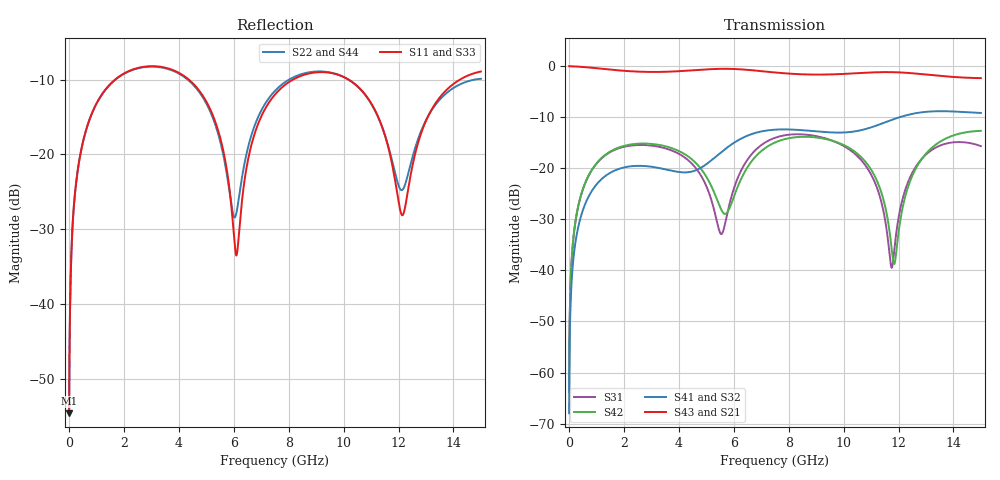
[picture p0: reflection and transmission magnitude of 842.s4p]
! Created with skrf 1.8.0 (http://scikit-rf.org).
# GHz S RI R 50.0
!freq ReS11 ImS11 ReS12 ImS12 ReS13 ImS13
! ReS14 ImS14
! ReS21 ImS21 ReS22 ImS22 ReS23 ImS23
! ReS24 ImS24
! ReS31 ImS31 ReS32 ImS32 ReS33 ImS33
! ReS34 ImS34
! ReS41 ImS41 ReS42 ImS42 ReS43 ImS43
! ReS44 ImS44
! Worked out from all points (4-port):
!   2499 points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, 5 MHz to 15 GHz, reference 50 ohm
!   strongest paths, dB at 5 MHz, 3.476 GHz, 7.19 GHz, 11.1 GHz, 15 GHz:
!     S43: 0.0, -1.1, -1.1, -1.2, -2.4
!     S21: 0.0, -1.1, -1.1, -1.2, -2.3
!     S41: -68.0, -20.2, -12.6, -11.8, -9.2
!     S32: -68.0, -20.2, -12.6, -11.8, -9.3
!     S42: -63.8, -15.6, -15.9, -21.2, -12.7
!     S31: -63.8, -16.1, -14.8, -22.3, -15.7
!   lowest |S11| = -54.6 dB at 5 MHz (marker M1), VSWR 1.00, Z = 50.1 + j0.112 ohm
!   |S11| at or under -10 dB: start of sweep to 1.68 GHz; 4.364 GHz to 8.158 GHz (3.794 GHz wide, 60.6 % of centre); 10.18 GHz to 14.24 GHz (4.053 GHz wide, 33.2 % of centre)
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0.005  0.00148 0.00112  0.9985 -0.00288  7.56e-05 0.000639  -7.32e-05 -0.000392
       0.9985 -0.00288  0.00148 0.00112  -7.32e-05 -0.000392  7.57e-05 0.000639
       7.56e-05 0.000639  -7.32e-05 -0.000392  0.00148 0.00112  0.9985 -0.00288
       -7.32e-05 -0.000392  7.57e-05 0.000639  0.9985 -0.00288  0.00148 0.00112
0.3126303  0.0203 0.0741  0.9724 -0.1798  0.00958 0.0384  -0.00813 -0.0234
           0.9724 -0.1798  0.0202 0.0741  -0.00812 -0.0234  0.0101 0.0383
           0.00958 0.0384  -0.00812 -0.0234  0.0203 0.0741  0.9724 -0.1798
           -0.00813 -0.0234  0.0101 0.0383  0.9724 -0.1798  0.0202 0.0741
1.569404  0.2416 0.1834  0.6079 -0.6916  0.1233 0.0803  -0.091 -0.016
          0.6079 -0.6916  0.2392 0.1847  -0.0908 -0.0161  0.131 0.0714
          0.1233 0.0803  -0.0908 -0.0161  0.2416 0.1833  0.6079 -0.6916
          -0.091 -0.016  0.131 0.0714  0.6079 -0.6916  0.2391 0.1847
5.896207  0.0229 -0.0425  -0.926 -0.1564  0.0253 0.0436  -0.0236 0.1679
          -0.926 -0.1564  0.0389 -0.0288  -0.0262 0.1675  -0.0324 0.0296
          0.0253 0.0436  -0.0262 0.1675  0.0226 -0.0409  -0.9261 -0.1558
          -0.0236 0.1679  -0.0324 0.0296  -0.9261 -0.1558  0.0388 -0.0273
9.52897  0.3464 -0.0542  0.0327 0.8301  0.1654 -0.091  0.2076 -0.0852
         0.0327 0.8301  0.3475 -0.0595  0.2078 -0.0792  0.1623 -0.0949
         0.1654 -0.091  0.2078 -0.0792  0.3519 -0.0555  0.0321 0.8285
         0.2076 -0.0852  0.1623 -0.0949  0.0321 0.8285  0.3506 -0.0583
11.84243  0.0478 -0.0545  0.8206 0.2952  -0.00955 0.0121  0.0904 -0.2895
          0.8206 0.2952  0.0632 -0.0485  0.0995 -0.2864  -0.0111 0.0029
          -0.00955 0.0121  0.0995 -0.2864  0.0515 -0.0591  0.8193 0.2974
          0.0904 -0.2895  -0.0111 0.0029  0.8193 0.2974  0.064 -0.0538
15  0.3536 0.0561  0.2629 -0.7173  0.1589 -0.043  -0.3448 -0.0458
    0.2629 -0.7173  0.3181 0.0359  -0.3386 -0.0588  0.1847 -0.1408
    0.1589 -0.043  -0.3386 -0.0588  0.3626 0.0473  0.2632 -0.7156
    -0.3448 -0.0458  0.1847 -0.1408  0.2632 -0.7156  0.3158 0.0481
